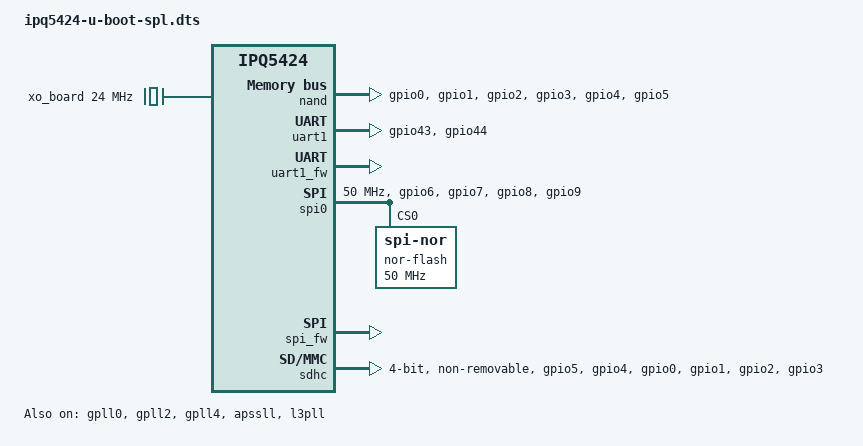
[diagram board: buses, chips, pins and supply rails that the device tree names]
// SPDX-License-Identifier: GPL-2.0-only
/*
 * Copyright (c) Qualcomm Technologies, Inc. and/or its subsidiaries.
 */
/dts-v1/;

#include <dt-bindings/interrupt-controller/arm-gic.h>
#include <dt-bindings/clock/qcom,ipq5424-gcc.h>
#include <asm/arch/dt-bindings/clock/qcom,ipq5424-gcc.h>
#include <dt-bindings/reset/qcom,ipq5424-gcc.h>
#include <asm/arch/dt-bindings/reset/qcom,ipq5424-gcc.h>
#include <dt-bindings/gpio/gpio.h>
/ {
	bootph-all;
	compatible = "qcom,ipq5424";

	#address-cells = <2>;
	#size-cells = <2>;
	interrupt-parent = <&intc>;

	aliases {
		serial0 = &uart1;
	};
	chosen {
		stdout-path = "serial0:115200n8";
	};
	clocks {
		sleep_clk: sleep-clk {
			bootph-all;
			compatible = "fixed-clock";
			#clock-cells = <0>;
			clock-frequency = <32000>;
		};
		xo_board: xo-board-clk {
			bootph-all;
			compatible = "fixed-clock";
			#clock-cells = <0>;
			clock-frequency = <24000000>;
		};
	};
	reserved-memory {
		#address-cells = <2>;
		#size-cells = <2>;
		ranges;
		smem_mem: smem_region@8a800000 {
			bootph-all;
			reg = <0x0 0x8a800000 0x0 0x32000>;
			no-map;
		};
	};
	smem {
		bootph-all;
		compatible = "qcom,smem";
		memory-region = <&smem_mem>;
		hwlocks = <&tcsr_mutex 3>;
	};
	soc@0 {
		bootph-all;
		compatible = "simple-bus";
		#address-cells = <2>;
		#size-cells = <2>;
		ranges = <0 0 0 0 0x10 0>;

		tlmm: pinctrl@1000000 {
			bootph-all;
			compatible = "qcom,ipq5424-tlmm";
			reg = <0 0x01000000 0 0x300000>;
			gpio-controller;
			#gpio-cells = <2>;
			gpio-ranges = <&tlmm 0 0 50>;
			interrupt-controller;
			#interrupt-cells = <2>;

			uart1_pins: uart1-state {
				bootph-all;
				pins = "gpio43", "gpio44";
				function = "uart1";
				drive-strength = <8>;
				bias-pull-up;
			};

			sdc_default_state: sdc-default-state {
				bootph-all;
				clk-pins {
					bootph-all;
					pins = "gpio5";
					function = "sdc_clk";
					drive-strength = <8>;
					bias-disable;
				};

				cmd-pins {
					bootph-all;
					pins = "gpio4";
					function = "sdc_cmd";
					drive-strength = <8>;
					bias-pull-up;
				};

				data-pins {
					bootph-all;
					pins = "gpio0", "gpio1", "gpio2", "gpio3";
					function = "sdc_data";
					drive-strength = <8>;
					bias-pull-up;
				};
			};

			spi0_pinmux: spi0 {
				bootph-all;
				spi0_sclk {
					bootph-all;
					pins = "gpio6";
					function = "spi0_clk";
					drive-strength = <8>;
					bias-pull-down;
				};

				spi0_cs0 {
					bootph-all;
					pins = "gpio7";
					function = "spi0_cs";
					drive-strength = <8>;
					bias-pull-up;
				};

				spi0_miso {
					bootph-all;
					pins = "gpio8";
					function = "spi0_miso";
					drive-strength = <8>;
					bias-pull-down;
				};

				spi0_mosi {
					bootph-all;
					pins = "gpio9";
					function = "spi0_mosi";
					drive-strength = <8>;
					bias-pull-down;
				};
			};

			qspi_pinmux: nand {
				bootph-all;
				qspi_data {
					bootph-all;
					pins = "gpio0", "gpio1", "gpio2","gpio3";
					function = "qspi_data";
					drive-strength = <8>;
					bias-pull-up;
				};

				qspi_cs_n {
					bootph-all;
					pins = "gpio4";
					function = "qspi_cs";
					drive-strength = <8>;
					bias-pull-up;
				};

				qspi_clk {
					bootph-all;
					pins = "gpio5";
					function = "qspi_clk";
					drive-strength = <8>;
					bias-disable;
				};
			};
		};

		intc: interrupt-controller@f200000 {
			bootph-all;
			compatible = "arm,gic-v3";
			reg = <0x0 0x0f200000 0x0 0x10000>, /* GICD */
			      <0x0 0x0f240000 0x0 0xa0000>; /* GICR * 5 regions */
			#interrupt-cells = <0x3>;
			interrupt-controller;
			#redistributor-regions = <1>;
			redistributor-stride = <0x0 0x20000>;
			interrupts = <GIC_PPI 9 IRQ_TYPE_LEVEL_HIGH>;
		};

		tmel_qmp: tmel-qmp@32090000 {
			bootph-all;
			compatible = "qcom,tmel-qmp-mbox-secure";
			reg = <0x0 0x32090000 0x0 0x20>,
				<0x0 0x32091000 0x0 0x20>;
			reg-names = "mcore", "ucore";

			interrupts = <GIC_SPI 121 IRQ_TYPE_EDGE_RISING>;
			max_pkt_size = <0x18>;

			#mbox-cells = <0>;
			status = "okay";
		};

		tmelcom: qcom,tmelcom {
			bootph-all;
			compatible = "qcom,tmelcom";
			mboxes = <&tmel_qmp>;
			mbox-names = "tmel-qmp-mbox";
			#clock-cells = <1>;
			#power-domain-cells = <1>;
			#reset-cells = <1>;
			status = "okay";
		};

		nand: nand-controller@79B0000 {
			bootph-all;
			compatible = "qti,spi-nand-v2.1.3";
			#address-cells = <2>;
			#size-cells = <2>;
			reg = <0x0 0x79B0000 0x0 0x10000>;
			assigned-clocks = <&gcc GCC_QPIC_CLK>,
					 <&gcc GCC_QPIC_IO_MACRO_CLK>;
			assigned-clock-rates = <100000000>, <200000000>;
			max_clk_feaquency = <400000000>;
			clock-names = "qpic-clk",
				      "qpic-io-macro-clk",
				      "qpic-ahb-clk";
			clocks = <&gcc GCC_QPIC_CLK>,
				<&gcc GCC_QPIC_IO_MACRO_CLK>,
				<&gcc GCC_QPIC_AHB_CLK>;
			resets = <&gcc GCC_QPIC_BCR>;
			reset-names = "bcr_rst";

			bam_reg = <0x07984000>;
			status_pipe = <3>;
			status_pipe_grp = <0>;
			read_pipe = <1>;
			read_pipe_grp = <0>;
			write_pipe = <0>;
			write_pipe_grp = <0>;
			cmd_pipe = <2>;
			cmd_pipe_grp = <1>;
			pinctrl-0 = <&qspi_pinmux>;
			pinctrl-names = "default";
			status = "okay";
 		};

		gcc: clock-controller@1800000 {
			bootph-all;
			compatible = "qcom,ipq5424-gcc";
			reg = <0 0x01800000 0 0x40000>;
			clocks = <&xo_board>,
				 <&sleep_clk>;
			#clock-cells = <1>;
			#reset-cells = <1>;
			#interconnect-cells = <1>;
		};

		gpll0: pll@1820000 {
			bootph-all;
			compatible = "qcom,ipq5424-clk-pll",
					"qcom,ipq-clk-pll";
			reg = <0 0x01820000 0 0x1000>;
			clock-output-names = "gpll0";
			fsm-vote-addr = <0x0180B000>;
			fsm-vote-mask = <0x1>;
			status = "okay";
		};

		gpll2: pll@1821000 {
			bootph-all;
			compatible = "qcom,ipq5424-clk-pll",
					"qcom,ipq-clk-pll";
			reg = <0 0x01821000 0 0x1000>;
			clock-output-names = "gpll2";
			fsm-vote-addr = <0x0180B000>;
			fsm-vote-mask = <0x2>;
			status = "okay";
		};

		gpll4: pll@1822000 {
			bootph-all;
			compatible = "qcom,ipq5424-clk-pll",
					"qcom,ipq-clk-pll";
			reg = <0 0x01822000 0 0x1000>;
			clock-output-names = "gpll4";
			fsm-vote-addr = <0x0180B000>;
			fsm-vote-mask = <0x4>;
			status = "okay";
		};

		apssll: pll@fa80000 {
			bootph-all;
			compatible = "qcom,ipq5424-clk-pll",
					"qcom,ipq-clk-pll";
			reg = <0 0x0FA80000 0 0x10000>;
			clock-output-names = "apssll";
			status = "okay";
		};

		l3pll: pll@fa90000 {
			bootph-all;
			compatible = "qcom,ipq5424-clk-pll",
					"qcom,ipq-clk-pll";
			reg = <0 0x0FA90000 0 0x10000>;
			clock-output-names = "l3pll";
			status = "okay";
		};

		pll_init: qcom,ipq-init-plls {
			bootph-all;
			compatible = "qcom,ipq-init-plls";
			plls = <&gpll0 &gpll2 &gpll4 &apssll &l3pll>;
			status = "okay";
		};

		board_init_clks: qcom,ipq-init-clks {
			bootph-all;
			compatible = "qcom,ipq-init-clks";

			clocks = <&gcc GCC_APCS_CLOCK_BRANCH_ENA_VOTE>;

			assigned-clocks = <&gcc GCC_PCNOC_BFDCD_CLK>,
					  <&gcc GCC_SYSTEM_NOC_BFDCD_CLK>;
			assigned-clock-rates = <100000000 266666666>;

			clock-names = "apcs_branch_vote",
					"pcnoc_bfdcd",
					"sysnoc_bfdcd";

			status = "okay";
		};

		tcsr_mutex: hwlock@1905000 {
			bootph-all;
			compatible = "qcom,tcsr-mutex";
			reg = <0 0x01905000 0 0x20000>;
			#hwlock-cells = <1>;
		};

		qupv3: geniqup@1ac0000 {
			bootph-all;
			compatible = "qcom,geni-se-qup";
			reg = <0 0x01ac0000 0 0x2000>;
			ranges;
			clocks = <&gcc GCC_QUPV3_2X_CORE_CLK>,
				 <&gcc GCC_QUPV3_AHB_MST_CLK>,
				 <&gcc GCC_QUPV3_AHB_SLV_CLK>,
				 <&gcc GCC_QUPV3_CORE_CLK>,
				 <&gcc GCC_QUPV3_SLEEP_CLK>;
			clock-names = "2x-core", "m-ahb", "s-ahb",
					"core", "sleep";

			#address-cells = <2>;
			#size-cells = <2>;

			uart1: serial@1a84000 {
				bootph-all;
				compatible = "qcom,geni-debug-uart";
				reg = <0 0x01a84000 0 0x4000>;
				clocks = <&gcc GCC_QUPV3_UART1_CLK>;
				clock-names = "se";
				pinctrl-0 = <&uart1_pins>;
				pinctrl-names = "default";
				qup-se-fw-load = <&uart1_fw>;
				status = "okay";
			};

			uart1_fw: uart_firmware@0 {
				bootph-all;
				compatible = "qcom,ipq5424-geni-uart-fw-v1",
					     "qcom,geni-uart-fw-v1";
				reg = <0 0x01a84000 0 0x4000>;
				status = "okay";
			};

			spi0: spi@1a90000 {
				bootph-all;
				compatible = "qcom-ipq5424-geni-spi";
				reg = <0 0x1a90000 0 0x4000>;
				reg-names = "se_phys";
				clocks = <&gcc GCC_QUPV3_SPI0_CLK>;
				clock-names = "se-spi-clk";
				clock-frequency = <50000000>;
				nor-blk-enable;
				status = "okay";
				#address-cells = <1>;
				#size-cells = <0>;
				qup-se-fw-load = <&spi_fw>;

				pinctrl-0 = <&spi0_pinmux>;
				pinctrl-names = "default";

				nor-flash@0 {
					bootph-all;
					compatible = "jedec,spi-nor";
					reg = <0>;
					spi-max-frequency = <50000000>;
				};
			};

			spi_fw: spi_firmware@0 {
				bootph-all;
				compatible = "qcom,ipq5424-geni-spi-fw-v1",
					     "qcom,geni-spi-fw-v1";
				reg = <0 0x1a90000 0 0x4000>;
				reg-names = "se_phys";
			};
		};

		sdhc: mmc@7804000 {
			bootph-all;
			compatible = "qcom,ipq5424-sdhci", "qcom,sdhci-msm-v5";
			reg = <0 0x07804000 0 0x1000>, <0 0x07805000 0 0x1000>;
			reg-names = "hc", "cqhci";
			clocks = <&gcc GCC_SDCC1_AHB_CLK>,
				 <&gcc GCC_SDCC1_APPS_CLK>,
				 <&xo_board>;
			clock-names = "iface", "core", "xo";
			bus-width = <4>;
			max-frequency = <192000000>;
			mmc-ddr-1_8v;
			non-removable;
			pinctrl-0 = <&sdc_default_state>;
			pinctrl-names = "default";
			sdhci-caps-mask = <0x0 0x04000000>;
			sdhci-caps = <0x0 0x04000000>;
			resets = <&gcc GCC_SDCC_BCR>;
			reset-names = "bcr_rst";
			status = "okay";
		};
	};
};
